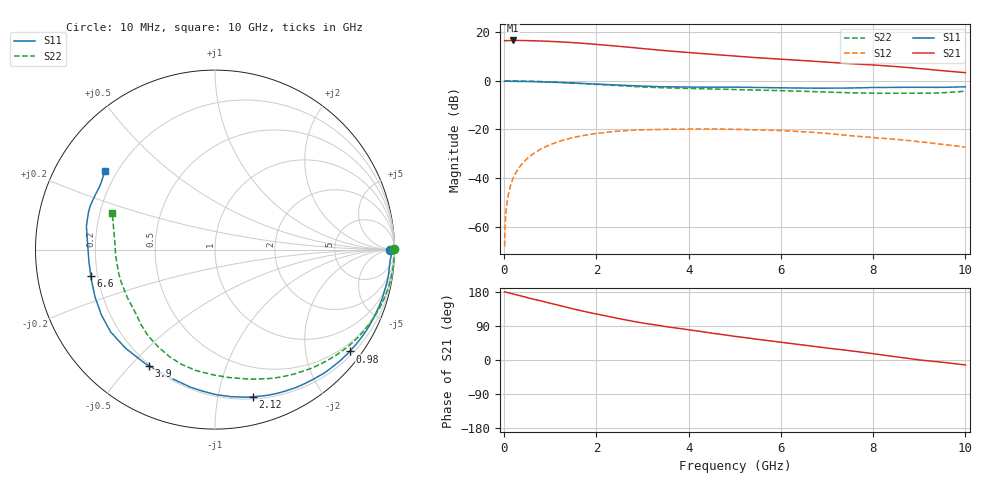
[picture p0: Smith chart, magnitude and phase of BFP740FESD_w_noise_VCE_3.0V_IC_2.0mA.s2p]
! Infineon Technologies  Discrete & RF Semiconductors
! BFP740FESD
! VCE =  3.0 V,  IC =  2.0 mA
! Common Emitter S-Parameters:  Jan 2016
# GHz  S  MA  R  50
!  f  S11  S21  S12  S22
! GHz  MAG  ANG  MAG  ANG  MAG  ANG  MAG  ANG
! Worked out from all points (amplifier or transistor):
!   233 points, 10 MHz to 10 GHz, reference 50 ohm
!   highest |S21| = 16.6 dB at 200 MHz (marker M1)
!   |S21| within 3 dB of that: start of sweep to 2.826 GHz
!   unconditionally stable (mu >= 1): 8.49 GHz to end of sweep
!   at 200 MHz: K = 0.00, MSG = 28.2 dB, |S12| = -39.8 dB
!   at 1.74 GHz: K = 0.11, MSG = 18.9 dB, |S12| = -22.4 dB
!   at 10 GHz: K = 1.71, MAG = 10.4 dB, |S12| = -27.3 dB
!   lowest NFmin = 0.40 dB at 450 MHz
!   S11 on the Smith chart (normalised r, x): 10 MHz: 85, -13; 980 MHz: 0.30, -2.95; 2.12 GHz: 0.22, -1.27; 3.9 GHz: 0.19, -0.56; 6.6 GHz: 0.17, -0.10; 10 GHz: 0.15, +0.31
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0.01  0.9773 -0.2  6.694 179.6  0.0004 93.1  0.9963 0.1
0.02  0.9785 -0.6  6.657 179.6  0.0011 87.8  0.9993 -0.6
0.06  0.9819 -2.1  6.67 178.2  0.0031 88.0  0.9993 -1.6
0.13  0.9764 -5.0  6.72 176.3  0.0066 86.5  0.9986 -3.5
0.2  0.9766 -7.6  6.739 174.2  0.0102 84.7  0.9976 -5.5
0.5  0.9674 -19.1  6.701 164.8  0.0253 76.8  0.9865 -13.7
0.98  0.941 -37.1  6.467 150.3  0.0479 63.8  0.9514 -26.7
1.38  0.9094 -51.7  6.182 138.2  0.0642 53.1  0.9102 -37.6
1.68  0.8844 -61.9  5.917 129.7  0.0742 45.6  0.8764 -45.3
2.12  0.8461 -75.6  5.47 118.3  0.0854 35.5  0.8279 -56.0
2.4  0.8239 -83.9  5.202 111.3  0.0913 29.6  0.7997 -62.6
2.8  0.7913 -95.1  4.798 102.0  0.0966 21.6  0.7612 -71.4
3.4  0.7559 -109.3  4.233 90.2  0.1002 11.5  0.7214 -82.0
3.9  0.7441 -119.7  3.869 81.4  0.1017 4.7  0.7008 -89.4
4.5  0.7418 -132.2  3.514 70.9  0.1027 -3.1  0.6828 -98.6
5.1  0.7373 -143.4  3.171 60.9  0.1004 -10.9  0.6619 -107.5
6  0.7191 -158.2  2.782 46.9  0.0949 -21.4  0.6274 -120.3
6.6  0.7072 -168.2  2.562 37.8  0.0886 -28.1  0.6033 -129.2
6.8  0.7054 -171.4  2.486 34.7  0.0857 -30.2  0.5948 -131.7
8.4  0.7353 163.4  1.991 10.1  0.0638 -38.9  0.5533 -161.3
9  0.7333 155.5  1.79 0.2  0.056 -41.3  0.5546 -176.6
10  0.7533 144.6  1.469 -13.1  0.0434 -39.0  0.6094 160.2
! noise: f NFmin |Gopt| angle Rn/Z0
0.45  0.4  0.8  7  0.23
2.4  0.69  0.53  46  0.21
5.5  1  0.56  124  0.11
10  2.12  0.55  -145  0.17
